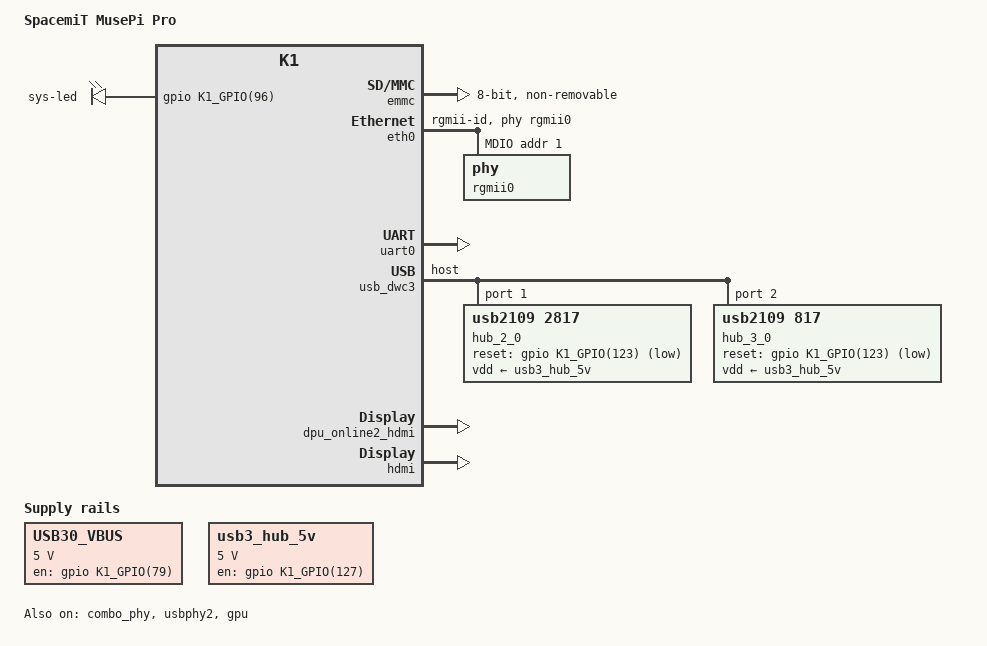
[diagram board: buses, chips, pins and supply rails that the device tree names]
// SPDX-License-Identifier: (GPL-2.0 OR MIT)
/*
 * Copyright (C) 2024 Yangyu Chen <cyy@cyyself.name>
 * Copyright (C) 2025 SpacemiT, Inc
 * Copyright (C) 2025 Troy Mitchell <troy.mitchell@linux.spacemit.com>
 */

/dts-v1/;

#include "k1.dtsi"
#include "k1-pinctrl.dtsi"

/ {
	model = "SpacemiT MusePi Pro";
	compatible = "spacemit,musepi-pro", "spacemit,k1";

	aliases {
		ethernet0 = &eth0;
		serial0 = &uart0;
	};

	chosen {
		stdout-path = "serial0";
	};

	leds {
		compatible = "gpio-leds";

		led1 {
			label = "sys-led";
			gpios = <&gpio K1_GPIO(96) GPIO_ACTIVE_HIGH>;
			linux,default-trigger = "heartbeat";
			default-state = "on";
		};
	};

	regulator-usb3-vbus-5v {
		compatible = "regulator-fixed";
		regulator-name = "USB30_VBUS";
		regulator-min-microvolt = <5000000>;
		regulator-max-microvolt = <5000000>;
		regulator-always-on;
		gpio = <&gpio K1_GPIO(79) GPIO_ACTIVE_HIGH>;
		enable-active-high;
	};

	usb3_hub_5v: regulator-usb3-hub-5v {
		compatible = "regulator-fixed";
		regulator-name = "USB30_HUB";
		regulator-min-microvolt = <5000000>;
		regulator-max-microvolt = <5000000>;
		gpio = <&gpio K1_GPIO(127) GPIO_ACTIVE_HIGH>;
		enable-active-high;
	};

	/* Restored from 6.19: DPU reserved region (HDMI framebuffers) + CMA pool */
	reserved-memory {
		#address-cells = <2>;
		#size-cells = <2>;
		ranges;

		linux,cma {
			compatible = "shared-dma-pool";
			alloc-ranges = <0 0x40000000 0 0x30000000>;
			size = <0 0x18000000>;
			alignment = <0x0 0x100000>;
			linux,cma-default;
			reusable;
		};

		dpu_resv: dpu_reserved@2ff40000 {
			compatible = "shared-dma-pool";
			reg = <0x0 0x2ff40000 0x0 0x000C0000>;
			no-map;
		};
	};
};

&emmc {
	bus-width = <8>;
	mmc-hs400-1_8v;
	mmc-hs400-enhanced-strobe;
	non-removable;
	no-sd;
	no-sdio;
	status = "okay";
};

&eth0 {
	phy-handle = <&rgmii0>;
	phy-mode = "rgmii-id";
	pinctrl-0 = <&gmac0_cfg>;
	pinctrl-names = "default";
	rx-internal-delay-ps = <0>;
	tx-internal-delay-ps = <0>;
	status = "okay";

	mdio-bus {
		#address-cells = <0x1>;
		#size-cells = <0x0>;

		reset-gpios = <&gpio K1_GPIO(110) GPIO_ACTIVE_LOW>;
		reset-delay-us = <10000>;
		reset-post-delay-us = <100000>;

		rgmii0: phy@1 {
			reg = <0x1>;
		};
	};
};

&pdma {
	status = "okay";
};

&uart0 {
	pinctrl-0 = <&uart0_2_cfg>;
	pinctrl-names = "default";
	status = "okay";
};

&combo_phy {
	status = "okay";
};

&usbphy2 {
	status = "okay";
};

/* USB3 hub stack restored from the 6.19 DTS, with the MusePi Pro GPIO map:
 * hub VBUS on GPIO 79, hub 5V rail on GPIO 127, hub reset on GPIO 123.
 */
&usb_dwc3 {
	dr_mode = "host";
	#address-cells = <1>;
	#size-cells = <0>;
	status = "okay";

	hub_2_0: hub@1 {
		compatible = "usb2109,2817";
		reg = <0x1>;
		vdd-supply = <&usb3_hub_5v>;
		peer-hub = <&hub_3_0>;
		reset-gpios = <&gpio K1_GPIO(123) GPIO_ACTIVE_LOW>;
	};

	hub_3_0: hub@2 {
		compatible = "usb2109,817";
		reg = <0x2>;
		vdd-supply = <&usb3_hub_5v>;
		peer-hub = <&hub_2_0>;
		reset-gpios = <&gpio K1_GPIO(123) GPIO_ACTIVE_LOW>;
	};
};

/* GPU (Imagination PowerVR Rogue) — restored from the 6.19 android DTS
 * (compatible img,img-rogue); the base node lives disabled in k1.dtsi.
 */
&gpu {
	status = "okay";
};

/* HDMI display pipeline — restored from the 6.19 DTS. The DPU fetches
 * framebuffers from the dpu_resv pool; the HDMI controller needs its DDC/CEC/HPD
 * pins. The saturn-hdmi master is enabled in k1.dtsi.
 */
&dpu_online2_hdmi {
	memory-region = <&dpu_resv>;
	status = "okay";
};

&hdmi {
	pinctrl-names = "default";
	pinctrl-0 = <&hdmi_0_cfg>;
	status = "okay";
};
